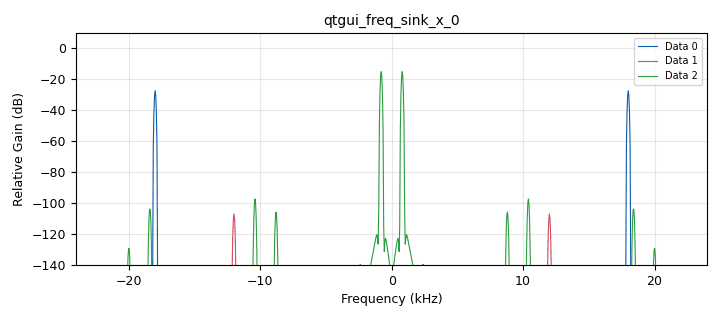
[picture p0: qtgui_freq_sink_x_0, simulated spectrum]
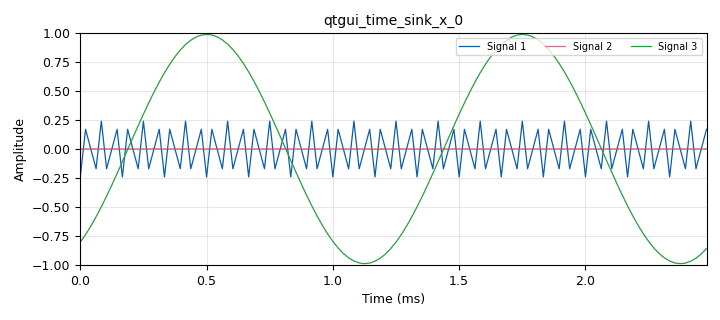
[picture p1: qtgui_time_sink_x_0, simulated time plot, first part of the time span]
options:
  parameters:
    author: Kevin Sandoval-Eduardo Caballero
    generate_options: qt_gui
    id: freg
    output_language: python
    title: Practica_1_2
  states: {}

blocks:
- name: samp_rate
  id: variable
  parameters:
    value: '48000'
  states: {}
- name: analog_sig_source_x_0
  id: analog_sig_source_x
  parameters:
    amp: '1'
    freq: '18000'
    offset: '0'
    phase: '0'
    samp_rate: samp_rate
    type: float
    waveform: analog.GR_COS_WAVE
  states: {}
- name: analog_sig_source_x_1
  id: analog_sig_source_x
  parameters:
    amp: '1'
    freq: '180000'
    offset: '0'
    phase: '0'
    samp_rate: samp_rate
    type: float
    waveform: analog.GR_COS_WAVE
  states: {}
- name: analog_sig_source_x_2
  id: analog_sig_source_x
  parameters:
    amp: '1'
    freq: '100000'
    offset: '0'
    phase: '0'
    samp_rate: samp_rate
    type: float
    waveform: analog.GR_COS_WAVE
  states: {}
- name: blocks_throttle_0
  id: blocks_throttle
  parameters:
    samples_per_second: samp_rate
    type: float
  states: {}
- name: qtgui_freq_sink_x_0
  id: qtgui_freq_sink_x
  parameters:
    bw: samp_rate
    fc: '0'
    fftsize: '1024'
    nconnections: '3'
    type: float
    wintype: firdes.WIN_BLACKMAN_hARRIS
  states: {}
- name: qtgui_time_sink_x_0
  id: qtgui_time_sink_x
  parameters:
    nconnections: '3'
    size: '1024'
    srate: samp_rate
    type: float
  states: {}
- name: rational_resampler_xxx_0
  id: rational_resampler_xxx
  parameters:
    decim: '1'
    fbw: '0.1'
    interp: '1'
    taps: ''
    type: fff
  states: {}
- name: rational_resampler_xxx_1
  id: rational_resampler_xxx
  parameters:
    decim: '5'
    fbw: '0.1'
    interp: '1'
    taps: ''
    type: fff
  states: {}
- name: rational_resampler_xxx_2
  id: rational_resampler_xxx
  parameters:
    decim: '1'
    fbw: '0.1'
    interp: '5'
    taps: ''
    type: fff
  states: {}

connections:
- [analog_sig_source_x_0, '0', rational_resampler_xxx_0, '0']
- [analog_sig_source_x_1, '0', rational_resampler_xxx_1, '0']
- [analog_sig_source_x_2, '0', rational_resampler_xxx_2, '0']
- [blocks_throttle_0, '0', qtgui_freq_sink_x_0, '0']
- [blocks_throttle_0, '0', qtgui_time_sink_x_0, '0']
- [rational_resampler_xxx_0, '0', blocks_throttle_0, '0']
- [rational_resampler_xxx_1, '0', qtgui_freq_sink_x_0, '1']
- [rational_resampler_xxx_1, '0', qtgui_time_sink_x_0, '1']
- [rational_resampler_xxx_2, '0', qtgui_freq_sink_x_0, '2']
- [rational_resampler_xxx_2, '0', qtgui_time_sink_x_0, '2']

metadata:
  file_format: 1
